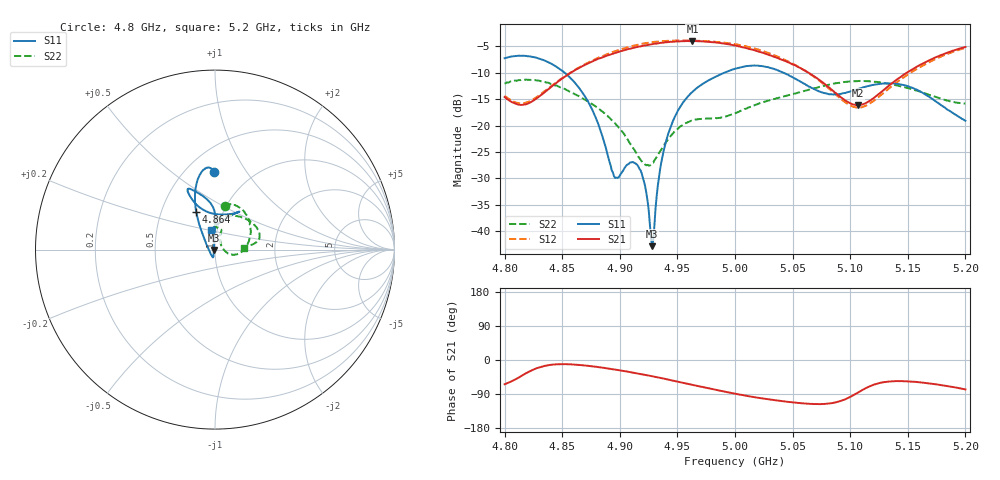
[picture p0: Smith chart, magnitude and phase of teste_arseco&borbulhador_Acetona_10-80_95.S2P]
! Network Analyzer HP8722D
! Hewlett-Packard
! Data name: Linha & Wilkinson
! Saver's name: Rodrigo Anjos
! Comments: Teste da utilização de aquisição
! continua pelo VNA HP8722D
! Time and date: 25/4/2025 16:03
!  Frequency  S11  S21  S12  S22
# HZ  S  MA R 50
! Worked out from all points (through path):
!   401 points, 4.8 GHz to 5.2 GHz, reference 50 ohm
!   highest |S21| = -3.97 dB at 4.963 GHz (marker M1); lowest = -16.1 dB at 5.107 GHz (marker M2)
!   lowest |S11| = -42.9 dB at 4.928 GHz (marker M3), VSWR 1.01, Z = 49.3 - j0.131 ohm
!   |S11| at or under -10 dB: 4.852 GHz to 4.991 GHz (138.5 MHz wide, 2.81 % of centre); 5.042 GHz to end of sweep
!   |S22| runs from -27.6 to -11.3 dB; largest |S21 - S12| = 1.2
!   S11 on the Smith chart (normalised r, x): 4.8 GHz: 0.68, +0.72; 4.864 GHz: 0.75, +0.33; 5.2 GHz: 0.94, +0.21
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4.8e9  0.4346 90.7  0.1862 -64.0  0.1912 69.6  0.2497 77.1
4.82e9  0.4536 97.0  0.1608 -32.6  0.1668 98.2  0.2716 62.0
4.864e9  0.2322 116.6  0.3486 -12.8  0.3518 121.0  0.1908 12.3
4.867e9  0.2093 118.4  0.3632 -13.8  0.3679 120.7  0.1829 8.9
4.88e9  0.1119 128.5  0.4224 -18.3  0.4328 118.3  0.1487 -5.1
4.895e9  0.03297 -174.7  0.4841 -24.6  0.5024 113.9  0.1073 -15.6
4.91e9  0.04465 -106.3  0.5383 -32.4  0.5639 107.1  0.06535 -13.6
4.917e9  0.03887 -103.1  0.5619 -36.3  0.589 103.6  0.04897 -1.0
4.922e9  0.02649 -106.7  0.5747 -39.1  0.6027 100.8  0.04262 15.3
4.928e9  0.007172 -169.3  0.5915 -42.8  0.6166 97.1  0.04417 40.2
4.93e9  0.01109 122.5  0.5964 -44.1  0.6204 95.9  0.04658 47.8
4.934e9  0.03226 99.8  0.6038 -46.7  0.6292 93.5  0.05479 57.4
4.939e9  0.06342 92.9  0.6143 -49.7  0.6333 90.0  0.06687 65.5
4.945e9  0.1026 90.1  0.6216 -53.7  0.6387 86.5  0.08141 69.9
4.963e9  0.2082 90.5  0.6333 -65.4  0.6364 74.8  0.1114 71.2
5e9  0.3454 109.2  0.5742 -88.9  0.5925 50.9  0.1308 88.3
5.029e9  0.3568 115.1  0.4685 -103.6  0.4873 34.3  0.172 85.7
5.067e9  0.2262 105.2  0.3013 -115.8  0.2987 23.6  0.2228 57.2
5.107e9  0.2224 64.1  0.1558 -85.4  0.148 57.6  0.2641 24.3
5.134e9  0.251 57.3  0.2405 -56.8  0.2257 88.7  0.2481 12.5
5.169e9  0.1854 70.0  0.4177 -61.9  0.4013 84.9  0.1948 6.9
5.2e9  0.1109 100.3  0.5552 -77.6  0.5446 70.2  0.1615 3.8
